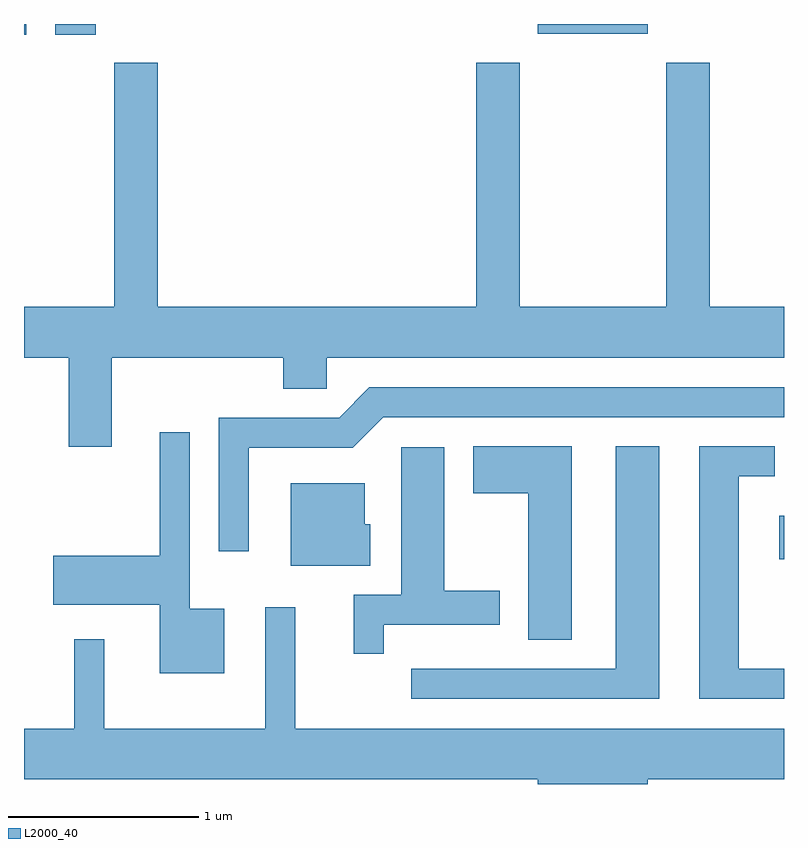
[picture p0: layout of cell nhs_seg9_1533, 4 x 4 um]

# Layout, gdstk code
import gdstk
lib = gdstk.Library(unit=1e-6, precision=1e-09)
def R(c, l, rs):  # rectangles x0, y0, x1, y1
    for r in rs: c.add(gdstk.rectangle(r[:2], r[2:], *l))
def P(c, l, *ps):  # polygons
    for p in ps: c.add(gdstk.Polygon(p, *l))
L2000_40 = (2000, 40)

nhs_seg9_1533 = lib.new_cell('nhs_seg9_1533')
R(nhs_seg9_1533, L2000_40, [(233.586,2019.616,233.611,2019.844), (229.611,2022.376,229.624,2022.432), (229.776,2022.376,229.989,2022.432), (232.316,2022.381,232.894,2022.432)])
P(nhs_seg9_1533, L2000_40, [(230.074,2020.676),(230.976,2020.676),(230.976,2020.511),(231.204,2020.511),(231.204,2020.676),(233.611,2020.676),(233.611,2020.944),(233.219,2020.944),(233.219,2022.229),(232.991,2022.229),(232.991,2020.944),(232.219,2020.944),(232.219,2022.229),(231.991,2022.229),(231.991,2020.944),(230.314,2020.944),(230.314,2022.229),(230.086,2022.229),(230.086,2020.944),(229.611,2020.944),(229.611,2020.676),(229.846,2020.676),(229.846,2020.206),(230.074,2020.206)],
  [(230.794,2020.201),(231.342,2020.201),(231.502,2020.361),(233.611,2020.361),(233.611,2020.519),(231.429,2020.519),(231.269,2020.359),(230.636,2020.359),(230.636,2019.658),(230.794,2019.658)],
  [(230.664,2019.354),(230.484,2019.354),(230.484,2020.283),(230.326,2020.283),(230.326,2019.634),(229.766,2019.634),(229.766,2019.376),(230.326,2019.376),(230.326,2019.016),(230.664,2019.016)],
  [(232.494,2020.209),(231.976,2020.209),(231.976,2019.961),(232.266,2019.961),(232.266,2019.191),(232.494,2019.191)],
  [(232.954,2020.209),(232.726,2020.209),(232.726,2019.039),(231.648,2019.039),(231.648,2018.881),(232.954,2018.881)],
  [(233.611,2019.039),(233.374,2019.039),(233.374,2020.051),(233.563,2020.051),(233.563,2020.209),(233.166,2020.209),(233.166,2018.881),(233.611,2018.881)],
  [(231.504,2019.271),(232.114,2019.271),(232.114,2019.449),(231.824,2019.449),(231.824,2020.204),(231.596,2020.204),(231.596,2019.429),(231.346,2019.429),(231.346,2019.118),(231.504,2019.118)],
  [(231.434,2019.799),(231.404,2019.799),(231.404,2020.014),(231.016,2020.014),(231.016,2019.581),(231.434,2019.581)],
  [(232.894,2018.456),(233.611,2018.456),(233.611,2018.724),(231.039,2018.724),(231.039,2019.363),(230.881,2019.363),(230.881,2018.724),(230.034,2018.724),(230.034,2019.193),(229.876,2019.193),(229.876,2018.724),(229.611,2018.724),(229.611,2018.456),(232.316,2018.456),(232.316,2018.432),(232.894,2018.432)])

lib.write_gds('nhs_seg9_1533.gds')
